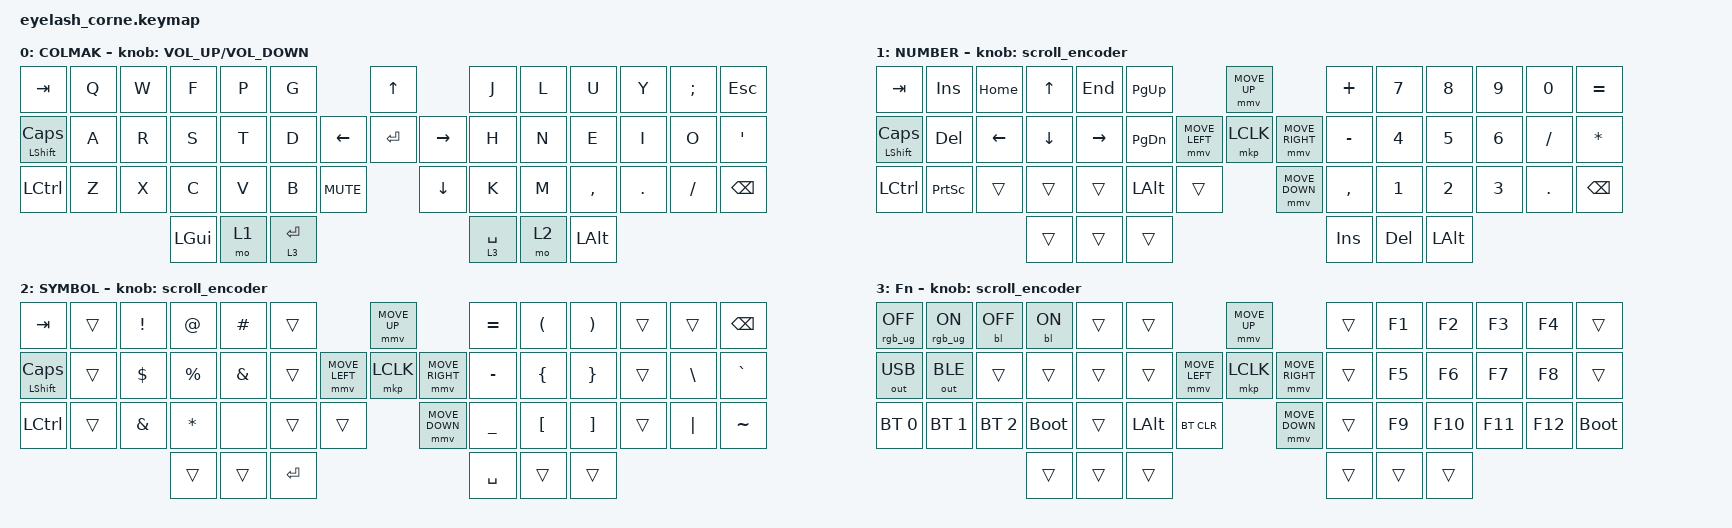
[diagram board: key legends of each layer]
#include <dt-bindings/zmk/mouse.h>
#include <input/processors.dtsi>
#include <behaviors.dtsi>
#include <dt-bindings/zmk/backlight.h>
#include <dt-bindings/zmk/bt.h>
#include <dt-bindings/zmk/keys.h>
#include <dt-bindings/zmk/outputs.h>
#include <dt-bindings/zmk/pointing.h>
#include <dt-bindings/zmk/pointing.h>
#include <dt-bindings/zmk/pointing.h>
#include <dt-bindings/zmk/rgb.h>

/*

   &mmv_input_listener {
       input-processors = <&zip_xy_scaler 2 1>;
   };

   &msc_input_listener {
       input-processors = <&zip_xy_scaler 2 1>;
   };

 */

#define ZMK_MOUSE_DEFAULT_MOVE_VAL 1200  // 600
#define ZMK_MOUSE_DEFAULT_SCRL_VAL 20    // 10

/ {
    behaviors {
        td0: td0 {
            compatible = "zmk,behavior-tap-dance";
            display-name = "Shift/Caps Lock Tap Dance";
            #binding-cells = <0>;
            bindings = <&kp LEFT_SHIFT>, <&kp CAPS>;
        };
    };

    rgb_encoder: rgb_encoder {
        compatible = "zmk,behavior-sensor-rotate";
        #sensor-binding-cells = <0>;
        bindings = <&rgb_ug RGB_BRI>, <&rgb_ug RGB_BRD>;
    };

    scroll_encoder: scroll_encoder {
        compatible = "zmk,behavior-sensor-rotate";
        #sensor-binding-cells = <0>;
        bindings = <&msc SCRL_DOWN>, <&msc SCRL_UP>;

        tap-ms = <30>;
    };

    keymap {
        compatible = "zmk,keymap";

        default_layer {
            display-name = "COLMAK";
            bindings = <
&kp TAB                  &kp Q  &kp W  &kp F     &kp P  &kp G                                &kp UP                &kp J        &kp L  &kp U         &kp Y    &kp SEMICOLON  &kp ESCAPE
&mt LEFT_SHIFT CAPSLOCK  &kp A  &kp R  &kp S     &kp T  &kp D                      &kp LEFT  &kp ENTER  &kp RIGHT  &kp H        &kp N  &kp E         &kp I    &kp O          &kp SQT
&kp LCTRL                &kp Z  &kp X  &kp C     &kp V  &kp B        &kp K_MUTE              &kp DOWN              &kp K        &kp M  &kp COMMA     &kp DOT  &kp FSLH       &kp BACKSPACE
                                       &kp LGUI  &mo 1  &lt 3 ENTER                                                &lt 3 SPACE  &mo 2  &kp LEFT_ALT
            >;

            sensor-bindings = <&inc_dec_kp C_VOLUME_UP C_VOLUME_DOWN>;
        };

        lower_layer {
            display-name = "NUMBER";
            bindings = <
&kp TAB                  &kp INSERT       &kp HOME  &kp UP_ARROW  &kp END    &kp PG_UP                                &mmv MOVE_UP                     &kp PLUS   &kp N7        &kp N8        &kp N9        &kp N0      &kp EQUAL
&mt LEFT_SHIFT CAPSLOCK  &kp DEL          &kp LEFT  &kp DOWN      &kp RIGHT  &kp PAGE_DOWN            &mmv MOVE_LEFT  &mkp LCLK       &mmv MOVE_RIGHT  &kp MINUS  &kp NUMBER_4  &kp N5        &kp NUMBER_6  &kp SLASH   &kp ASTERISK
&kp LEFT_CONTROL         &kp PRINTSCREEN  &trans    &trans        &trans     &kp LEFT_ALT   &trans                    &mmv MOVE_DOWN                   &kp COMMA  &kp NUMBER_1  &kp NUMBER_2  &kp NUMBER_3  &kp PERIOD  &kp BACKSPACE
                                                    &trans        &trans     &trans                                                                    &kp INS    &kp DEL       &kp LEFT_ALT
            >;

            sensor-bindings = <&scroll_encoder>;
        };

        raise_layer {
            display-name = "SYMBOL";
            bindings = <
&kp TAB                  &trans  &kp EXCLAMATION  &kp AT_SIGN   &kp HASH       &trans                               &mmv MOVE_UP                     &kp EQUAL  &kp LEFT_PARENTHESIS  &kp RIGHT_PARENTHESIS  &trans  &trans    &kp BSPC
&mt LEFT_SHIFT CAPSLOCK  &trans  &kp DOLLAR       &kp PERCENT   &kp AMPERSAND  &trans               &mmv MOVE_LEFT  &mkp LCLK       &mmv MOVE_RIGHT  &kp MINUS  &kp LEFT_BRACE        &kp RIGHT_BRACE        &trans  &kp BSLH  &kp GRAVE
&kp LEFT_CONTROL         &trans  &kp AMPERSAND    &kp ASTERISK  &none          &trans     &trans                    &mmv MOVE_DOWN                   &kp UNDER  &kp LEFT_BRACKET      &kp RIGHT_BRACKET      &trans  &kp PIPE  &kp TILDE
                                                  &trans        &trans         &kp ENTER                                                             &kp SPACE  &trans                &trans
            >;

            sensor-bindings = <&scroll_encoder>;
        };

        layer_3 {
            display-name = "Fn";
            bindings = <
&rgb_ug RGB_OFF  &rgb_ug RGB_ON  &bl BL_OFF    &bl BL_ON    &trans  &trans                                      &mmv MOVE_UP                     &trans  &kp F1  &kp F2   &kp F3   &kp F4   &trans
&out OUT_USB     &out OUT_BLE    &trans        &trans       &trans  &trans                      &mmv MOVE_LEFT  &mkp LCLK       &mmv MOVE_RIGHT  &trans  &kp F5  &kp F6   &kp F7   &kp F8   &trans
&bt BT_SEL 0     &bt BT_SEL 1    &bt BT_SEL 2  &bootloader  &trans  &kp LEFT_ALT  &bt BT_CLR                    &mmv MOVE_DOWN                   &trans  &kp F9  &kp F10  &kp F11  &kp F12  &bootloader
                                               &trans       &trans  &trans                                                                       &trans  &trans  &trans
            >;

            sensor-bindings = <&scroll_encoder>;
        };
    };
};
